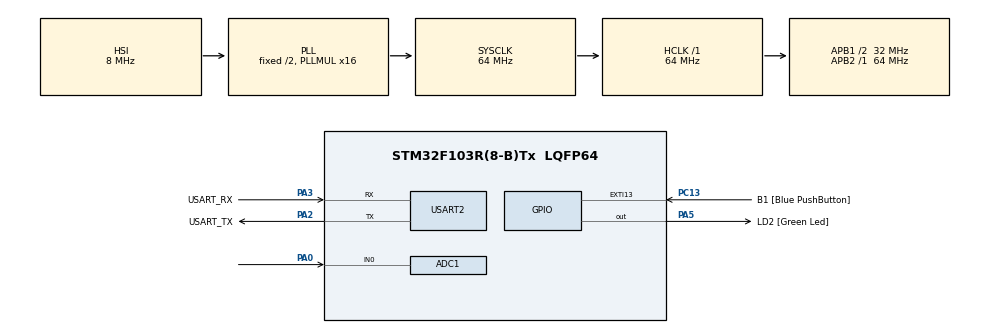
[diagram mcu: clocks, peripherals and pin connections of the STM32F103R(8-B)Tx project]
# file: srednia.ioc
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ADC1.Channel-0\#ChannelRegularConversion=ADC_CHANNEL_0
ADC1.ContinuousConvMode=ENABLE
ADC1.ExternalTrigConv=ADC_EXTERNALTRIGCONV_T3_TRGO
ADC1.NbrOfConversion=1
ADC1.NbrOfConversionFlag=1
ADC1.Rank-0\#ChannelRegularConversion=1
ADC1.SamplingTime-0\#ChannelRegularConversion=ADC_SAMPLETIME_239CYCLES_5
ADC1.master=1
Dma.ADC1.0.Direction=DMA_PERIPH_TO_MEMORY
Dma.ADC1.0.Instance=DMA1_Channel1
Dma.ADC1.0.MemDataAlignment=DMA_MDATAALIGN_HALFWORD
Dma.ADC1.0.MemInc=DMA_MINC_ENABLE
Dma.ADC1.0.Mode=DMA_CIRCULAR
Dma.ADC1.0.PeriphDataAlignment=DMA_PDATAALIGN_HALFWORD
Dma.ADC1.0.PeriphInc=DMA_PINC_DISABLE
Dma.ADC1.0.Priority=DMA_PRIORITY_LOW
Dma.Request0=ADC1
Mcu.Family=STM32F1
Mcu.Name=STM32F103R(8-B)Tx
Mcu.Package=LQFP64
NVIC.DMA1_Channel1_IRQn=true\:0\:0\:false\:false\:true\:false\:true
NVIC.EXTI15_10_IRQn=true\:0\:0\:false\:false\:true\:true\:true
NVIC.PriorityGroup=NVIC_PRIORITYGROUP_4
PA0-WKUP.Signal=ADCx_IN0
PA13.GPIO_Label=TMS
PA13.Mode=Serial_Wire
PA13.Signal=SYS_JTMS-SWDIO
PA14.GPIO_Label=TCK
PA14.Mode=Serial_Wire
PA14.Signal=SYS_JTCK-SWCLK
PA2.GPIO_Label=USART_TX
PA2.GPIO_Mode=GPIO_MODE_AF_PP
PA2.GPIO_PuPd=GPIO_NOPULL
PA2.GPIO_Speed=GPIO_SPEED_FREQ_LOW
PA2.Mode=Asynchronous
PA2.Signal=USART2_TX
PA3.GPIO_Label=USART_RX
PA3.GPIO_Mode=GPIO_MODE_AF_PP
PA3.GPIO_PuPd=GPIO_NOPULL
PA3.GPIO_Speed=GPIO_SPEED_FREQ_LOW
PA3.Mode=Asynchronous
PA3.Signal=USART2_RX
PA5.GPIO_Label=LD2 [Green Led]
PA5.GPIO_ModeDefaultOutputPP=GPIO_MODE_OUTPUT_PP
PA5.GPIO_PuPd=GPIO_NOPULL
PA5.GPIO_Speed=GPIO_SPEED_FREQ_LOW
PA5.Signal=GPIO_Output
PB3.GPIO_Label=SWO
PB3.Signal=SYS_JTDO-TRACESWO
PC13-TAMPER-RTC.GPIO_Label=B1 [Blue PushButton]
PC13-TAMPER-RTC.GPIO_PuPd=GPIO_NOPULL
PC13-TAMPER-RTC.Signal=GPXTI13
PC14-OSC32_IN.Mode=LSE-External-Oscillator
PC14-OSC32_IN.Signal=RCC_OSC32_IN
PC15-OSC32_OUT.Mode=LSE-External-Oscillator
PC15-OSC32_OUT.Signal=RCC_OSC32_OUT
PD0-OSC_IN.Mode=HSE-External-Clock-Source
PD0-OSC_IN.Signal=RCC_OSC_IN
PD1-OSC_OUT.Mode=HSE-External-Clock-Source
PD1-OSC_OUT.Signal=RCC_OSC_OUT
ProjectManager.HeapSize=0x200
ProjectManager.StackSize=0x400
ProjectManager.TargetToolchain=TrueSTUDIO
RCC.ADCPresc=RCC_ADCPCLK2_DIV8
RCC.AHBFreq_Value=64000000
RCC.APB1CLKDivider=RCC_HCLK_DIV2
RCC.APB1Freq_Value=32000000
RCC.APB1TimFreq_Value=64000000
RCC.APB2Freq_Value=64000000
RCC.APB2TimFreq_Value=64000000
RCC.HCLKFreq_Value=64000000
RCC.PLLMUL=RCC_PLL_MUL16
RCC.RTCClockSelection=RCC_RTCCLKSOURCE_LSE
RCC.SYSCLKFreq_VALUE=64000000
RCC.SYSCLKSource=RCC_SYSCLKSOURCE_PLLCLK
RCC.USBFreq_Value=64000000
SH.ADCx_IN0.0=ADC1_IN0,IN0
TIM3.Period=63
TIM3.Prescaler=9999
TIM3.TIM_MasterOutputTrigger=TIM_TRGO_UPDATE
TIM4.Channel-Output\ Compare4\ No\ Output=TIM_CHANNEL_4
USART2.VirtualMode=VM_ASYNC
VP_TIM3_VS_ClockSourceINT.Mode=Internal
VP_TIM4_VS_no_output4.Mode=Output Compare4 No Output
board=NUCLEO-F103RB

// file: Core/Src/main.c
/* USER CODE BEGIN Header */
/**
  ******************************************************************************
  * @file           : main.c
  * @brief          : Main program body
  ******************************************************************************
  * @attention
  *
  * <h2><center>&copy; Copyright (c) 2020 STMicroelectronics.
  * All rights reserved.</center></h2>
  *
  * This software component is licensed by ST under BSD 3-Clause license,
  * the "License"; You may not use this file except in compliance with the
  * License. You may obtain a copy of the License at:
  *                        opensource.org/licenses/BSD-3-Clause
  *
  ******************************************************************************
  */
/* USER CODE END Header */

#include "main.h"
#include "adc.h"
#include "dma.h"
#include "tim.h"
#include "usart.h"
#include "gpio.h"

/* USER CODE BEGIN PV */
uint32_t wynik;
uint8_t count=0;
uint8_t cons=150;
int c=0;
float srednia=0;
float arytmetyczna=0;
float prev=0;
float pomiar=0;
/* USER CODE END PV */

void SystemClock_Config(void);

int main(void)
{

  /* MCU Configuration--------------------------------------------------------*/

  /* Reset of all peripherals, Initializes the Flash interface and the Systick. */
  HAL_Init();

  /* Configure the system clock */
  SystemClock_Config();

  /* Initialize all configured peripherals */
  MX_GPIO_Init();
  MX_DMA_Init();
  MX_ADC1_Init();
  MX_USART2_UART_Init();
  MX_TIM4_Init();
  MX_TIM3_Init();
  /* USER CODE BEGIN 2 */
  HAL_TIM_Base_Start(&htim3);
  HAL_ADC_Start_DMA(&hadc1,&wynik,1);

  /* USER CODE END 2 */

  /* Infinite loop */
  while (1)
  {

  }
}

void SystemClock_Config(void)
{
  RCC_OscInitTypeDef RCC_OscInitStruct = {0};
  RCC_ClkInitTypeDef RCC_ClkInitStruct = {0};
  RCC_PeriphCLKInitTypeDef PeriphClkInit = {0};

  /** Initializes the CPU, AHB and APB busses clocks
  */
  RCC_OscInitStruct.OscillatorType = RCC_OSCILLATORTYPE_HSI;
  RCC_OscInitStruct.HSIState = RCC_HSI_ON;
  RCC_OscInitStruct.HSICalibrationValue = RCC_HSICALIBRATION_DEFAULT;
  RCC_OscInitStruct.PLL.PLLState = RCC_PLL_ON;
  RCC_OscInitStruct.PLL.PLLSource = RCC_PLLSOURCE_HSI_DIV2;
  RCC_OscInitStruct.PLL.PLLMUL = RCC_PLL_MUL16;
  if (HAL_RCC_OscConfig(&RCC_OscInitStruct) != HAL_OK)
  {
    Error_Handler();
  }
  /** Initializes the CPU, AHB and APB busses clocks
  */
  RCC_ClkInitStruct.ClockType = RCC_CLOCKTYPE_HCLK|RCC_CLOCKTYPE_SYSCLK
                              |RCC_CLOCKTYPE_PCLK1|RCC_CLOCKTYPE_PCLK2;
  RCC_ClkInitStruct.SYSCLKSource = RCC_SYSCLKSOURCE_PLLCLK;
  RCC_ClkInitStruct.AHBCLKDivider = RCC_SYSCLK_DIV1;
  RCC_ClkInitStruct.APB1CLKDivider = RCC_HCLK_DIV2;
  RCC_ClkInitStruct.APB2CLKDivider = RCC_HCLK_DIV1;

  if (HAL_RCC_ClockConfig(&RCC_ClkInitStruct, FLASH_LATENCY_2) != HAL_OK)
  {
    Error_Handler();
  }
  PeriphClkInit.PeriphClockSelection = RCC_PERIPHCLK_ADC;
  PeriphClkInit.AdcClockSelection = RCC_ADCPCLK2_DIV8;
  if (HAL_RCCEx_PeriphCLKConfig(&PeriphClkInit) != HAL_OK)
  {
    Error_Handler();
  }
}

/* USER CODE BEGIN 4 */
void HAL_SYSTICK_Callback()
{
	count++;
		if(count<=100){

		  srednia=(prev*(cons-1)+wynik)/cons;
		  prev=srednia;
		  c=c+wynik;
		}
		else
		{
			count=0;
			pomiar=srednia;
			arytmetyczna=c/100;
			c=0;
		}
}
/* USER CODE END 4 */

void Error_Handler(void)
{
}

/************************ (C) COPYRIGHT STMicroelectronics *****END OF FILE****/
